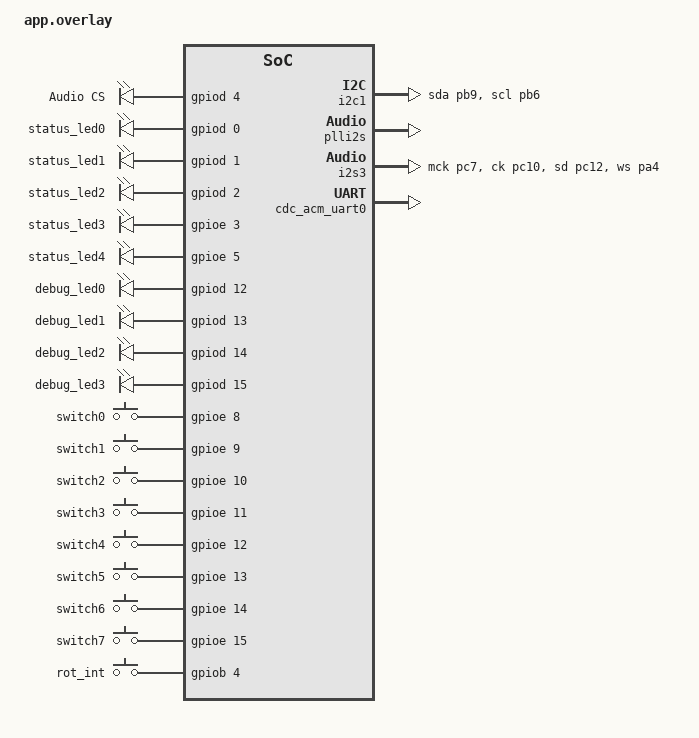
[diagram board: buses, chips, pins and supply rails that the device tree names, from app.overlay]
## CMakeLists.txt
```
cmake_minimum_required(VERSION 3.20.0)

set(BOARD stm32f4_disco)
set(CONF_FILE prj.conf)
find_package(Zephyr)
project(my_zephyr_app)

target_sources(app PRIVATE 
src/audio.cpp
src/leds.cpp
src/usb.c
src/Switch.cpp
src/key.cpp
src/i2c.c
src/peripherals.cpp
src/synth.cpp
src/main.cpp 
)
```

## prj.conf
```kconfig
CONFIG_CONSOLE=y
CONFIG_I2C=y
CONFIG_I2S=y
CONFIG_NEWLIB_LIBC=y
CONFIG_STDOUT_CONSOLE=y
CONFIG_USB_DEVICE_STACK=y
CONFIG_USB_DEVICE_PRODUCT="Zephyr CDC ACM sample"
CONFIG_USB_DEVICE_PID=0x0001
CONFIG_SERIAL=y
CONFIG_UART_INTERRUPT_DRIVEN=y
CONFIG_UART_LINE_CTRL=y
CONFIG_CPP=y
```

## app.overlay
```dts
&i2c1 {
    pinctrl-0 = <&i2c1_sda_pb9 &i2c1_scl_pb6>;
    pinctrl-names = "default";
    status = "okay";
};

/ {
    chip_selects {
        compatible = "gpio-leds";
        audio_cs: cs_0 {
            gpios = <&gpiod 4 GPIO_ACTIVE_HIGH>;
            label = "Audio CS";
        };
    };

    leds {
        compatible = "gpio-leds";
        status_led0: led_0 {
                gpios = <&gpiod 0 GPIO_ACTIVE_HIGH>;
        };
        status_led1: led_1 {
                gpios = <&gpiod 1 GPIO_ACTIVE_HIGH>;
        };
        status_led2: led_2 {
                gpios = <&gpiod 2 GPIO_ACTIVE_HIGH>;
        };
        status_led3: led_3 {
                gpios = <&gpioe 3 GPIO_ACTIVE_HIGH>;
        };
        status_led4: led_4 {
                gpios = <&gpioe 5 GPIO_ACTIVE_HIGH>;
        };
        debug_led0: led_5 {
            gpios = <&gpiod 12 GPIO_ACTIVE_HIGH>;
        };
        debug_led1: led_6 {
            gpios = <&gpiod 13 GPIO_ACTIVE_HIGH>;
        };
        debug_led2: led_7 {
            gpios = <&gpiod 14 GPIO_ACTIVE_HIGH>;
        };
        debug_led3: led_8 {
            gpios = <&gpiod 15 GPIO_ACTIVE_HIGH>;
        };
    };

    buttons {
        compatible = "gpio-keys";
        switch0: button_0 {
            gpios = <&gpioe 8 GPIO_ACTIVE_HIGH>;
        };
        switch1: button_1 {
            gpios = <&gpioe 9 GPIO_ACTIVE_HIGH>;
        };
        switch2: button_2 {
            gpios = <&gpioe 10 GPIO_ACTIVE_HIGH>;
        };
        switch3: button_3 {
            gpios = <&gpioe 11 GPIO_ACTIVE_HIGH>;
        };
        switch4: button_4 {
            gpios = <&gpioe 12 GPIO_ACTIVE_HIGH>;
        };
        switch5: button_5 {
            gpios = <&gpioe 13 GPIO_ACTIVE_HIGH>;
        };
        switch6: button_6 {
            gpios = <&gpioe 14 GPIO_ACTIVE_HIGH>;
        };
        switch7: button_7 {
            gpios = <&gpioe 15 GPIO_ACTIVE_HIGH>;
        };
        rot_int: button_8 {
            gpios = <&gpiob 4 GPIO_ACTIVE_HIGH>;
        };
    };


    aliases {
        cs0 = &audio_cs;
        status-led0 = &status_led0;
        status-led1 = &status_led1;
        status-led2 = &status_led2;
        status-led3 = &status_led3;
        status-led4 = &status_led4;
        debug-led0 = &debug_led0;
        debug-led1 = &debug_led1;
        debug-led2 = &debug_led2;
        debug-led3 = &debug_led3;
        switch0 = &switch0;
        switch1 = &switch1;
        switch2 = &switch2;
        switch3 = &switch3;
        switch4 = &switch4;
        switch5 = &switch5;
        switch6 = &switch6;
        switch7 = &switch7;
        rot-int = &rot_int;
    };
};

&dma1 {
    status = "okay";
};

&plli2s {
    status = "okay";
    mul-n = <338>;
    div-r = <3>;
};

i2s_tx: &i2s3 {
    pinctrl-0 = <&i2s3_mck_pc7 &i2s3_ck_pc10 &i2s3_sd_pc12 &i2s3_ws_pa4>;
    pinctrl-names = "default";
    status = "okay";
	clocks = <&rcc STM32_CLOCK_BUS_APB1 0x00008000>,
             <&rcc STM32_SRC_PLLI2S_R I2S_SEL(0)>;
    mck-enabled;
};

&zephyr_udc0 {
	cdc_acm_uart0 {
		compatible = "zephyr,cdc-acm-uart";
	};
};
```

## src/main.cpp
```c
/*
 * Copyright (c) 2016 Intel Corporation
 *
 * SPDX-License-Identifier: Apache-2.0
 */

#include "Switch.hpp"
#include "audio.h"
#include "key.hpp"
#include "leds.h"
#include "peripherals.h"
#include "synth.hpp"
#include "usb.h"
#include <math.h>
#include <zephyr/kernel.h>
#include <zephyr/logging/log.h>
#include <zephyr/drivers/gpio.h>

#define STACK_SIZE 2048

void task_update_peripherals(void *, void *, void *);

void task_check_keyboard(void *, void *, void *);

void task_write_audio(void *, void *, void *);

void task_make_audio(void *, void *, void *);

void work_update_switch0(void *, void *, void *);
void work_update_switch1(void *p1, void *p2, void *p3);
void work_update_switch2(void *p1, void *p2, void *p3);
void work_update_switch3(void *p1, void *p2, void *p3);

K_THREAD_STACK_DEFINE(stack0,
STACK_SIZE);
K_THREAD_STACK_DEFINE(stack1,
STACK_SIZE);
K_THREAD_STACK_DEFINE(stack2,
STACK_SIZE);
K_THREAD_STACK_DEFINE(stack3,
STACK_SIZE);

K_THREAD_STACK_DEFINE(stack4,
STACK_SIZE);
K_THREAD_STACK_DEFINE(stack5,
STACK_SIZE);
K_THREAD_STACK_DEFINE(stack6,
STACK_SIZE);
K_THREAD_STACK_DEFINE(stack7,
STACK_SIZE);


struct k_thread my_thread_data_0;
struct k_thread my_thread_data_1;
struct k_thread my_thread_data_2;
struct k_thread my_thread_data_3;

struct k_thread sw0_thread_data_0;
struct k_thread sw1_thread_data_1;
struct k_thread sw2_thread_data_2;
struct k_thread sw3_thread_data_3;


static struct gpio_callback sw0_cb;
static struct gpio_callback sw1_cb;
static struct gpio_callback sw2_cb;
static struct gpio_callback sw3_cb;
static struct gpio_callback sw4_cb;
static struct gpio_callback sw5_cb;
static struct gpio_callback sw6_cb;
static struct gpio_callback sw7_cb;
static struct gpio_callback rot_cb;
void switch_pressed(const struct device *dev, struct gpio_callback *cb, uint32_t pins);
void switch0_pressed(const struct device *dev, struct gpio_callback *cb, uint32_t pins);
void switch1_pressed(const struct device *dev, struct gpio_callback *cb, uint32_t pins);
void switch2_pressed(const struct device *dev, struct gpio_callback *cb, uint32_t pins);
void switch3_pressed(const struct device *dev, struct gpio_callback *cb, uint32_t pins);
void attach_interrupt_switch(void);

K_MUTEX_DEFINE(mutex_keys);
K_MUTEX_DEFINE(mutex_peripherals);
K_MUTEX_DEFINE(mutex_mem0);
K_MUTEX_DEFINE(mutex_mem1);
K_SEM_DEFINE(sem_peripherals, 0, 1);

K_SEM_DEFINE(sem_sw0, 0, 1);
K_SEM_DEFINE(sem_sw1, 0, 1);
K_SEM_DEFINE(sem_sw2, 0, 1);
K_SEM_DEFINE(sem_sw3, 0, 1);

K_TIMER_DEFINE(sync_timer_task1, NULL, NULL);
K_TIMER_DEFINE(sync_timer_task2, NULL, NULL);
K_TIMER_DEFINE(sync_timer_task3, NULL, NULL);
K_TIMER_DEFINE(sync_timer_task4, NULL, NULL);

Synthesizer synth;

void check_keyboard() {
    // data race Keys[] in thread task_check_keyboard(main.cpp)
    char character;
    while (usbRead(&character, 1)) {
        auto key = Key::char_to_key(character);
        bool key_pressed = false;
        k_mutex_lock(&mutex_keys, K_FOREVER);
        for (int i = 0; i < MAX_KEYS; i++) {

            if (key == keys[i].key && keys[i].state != IDLE) {
                keys[i].state = PRESSED;
                keys[i].hold_time = sys_timepoint_calc(K_MSEC(500));
                keys[i].release_time = sys_timepoint_calc(K_MSEC(500));
                key_pressed = true;
            }
        }
        // The second loop is necessary to avoid selecting an IDLE key when a
        // PRESSED or RELEASED key is located further away on the array
        if (!key_pressed) {
            for (int i = 0; i < MAX_KEYS; i++) {

                if (keys[i].state == IDLE) {
                    keys[i].key = key;
                    keys[i].state = PRESSED;
                    keys[i].hold_time = sys_timepoint_calc(K_MSEC(500));
                    keys[i].release_time = sys_timepoint_calc(K_MSEC(500));
                    keys[i].phase1 = 0;
                    keys[i].phase2 = 0;
                    break;
                }
            }
        }
        k_mutex_unlock(&mutex_keys);
    }
}

int main(void) {
    initUsb();
    waitForUsb();

    printuln("== Initializing... ==");

    init_leds();
    initAudio();
    init_peripherals();

    synth.initialize();

    void *mem_block = allocBlock();

    //attach_interrupt_switch();

    printuln("== Finished initialization ==");

    k_tid_t my_tid_0 = k_thread_create(&my_thread_data_0, stack0,
                                       K_THREAD_STACK_SIZEOF(stack0),
                                       task_update_peripherals,
                                       NULL, NULL, NULL,
                                       -1, 0, K_NO_WAIT);
    k_tid_t my_tid_1 = k_thread_create(&my_thread_data_1, stack1,
                                       K_THREAD_STACK_SIZEOF(stack1),
                                       task_check_keyboard,
                                       NULL, NULL, NULL,
                                       2, 0, K_NO_WAIT);
    k_tid_t my_tid_2 = k_thread_create(&my_thread_data_2, stack2,
                                       K_THREAD_STACK_SIZEOF(stack2),
                                       task_make_audio,
                                       NULL, NULL, mem_block,
                                       3, 0, K_NO_WAIT);
    k_tid_t my_tid_3 = k_thread_create(&my_thread_data_3, stack3,
                                       K_THREAD_STACK_SIZEOF(stack3),
                                       task_write_audio,
                                       NULL, NULL, mem_block,
                                       4, 0, K_NO_WAIT);

    k_tid_t work_tid_0 = k_thread_create(&sw0_thread_data_0, stack4,
                                       K_THREAD_STACK_SIZEOF(stack4),
                                         work_update_switch0,
                                       NULL, NULL, NULL,
                                       -1, 0, K_NO_WAIT);
    k_tid_t work_tid_1 = k_thread_create(&sw1_thread_data_1, stack5,
                                       K_THREAD_STACK_SIZEOF(stack5),
                                         work_update_switch1,
                                       NULL, NULL, NULL,
                                       -1, 0, K_NO_WAIT);
    k_tid_t work_tid_2 = k_thread_create(&sw2_thread_data_2, stack6,
                                       K_THREAD_STACK_SIZEOF(stack6),
                                         work_update_switch2,
                                       NULL, NULL, NULL,
                                       -1, 0, K_NO_WAIT);
    k_tid_t work_tid_3 = k_thread_create(&sw3_thread_data_3, stack7,
                                       K_THREAD_STACK_SIZEOF(stack7),
                                         work_update_switch3,
                                       NULL, NULL, NULL,
                                       -1, 0, K_NO_WAIT);
    attach_interrupt_switch();
    k_thread_suspend(k_current_get());
    return 0;
}

void task_update_peripherals(void *p1, void *p2, void *p3) {
    //k_timer_start(&sync_timer_task1, K_MSEC(8), K_MSEC(8));
    while (1) {
        // Check the peripherals input
        if (k_sem_take(&sem_peripherals, K_FOREVER) == 0) {
            set_led(&debug_led0);
            //software debouncing
            k_usleep(200);
            k_mutex_lock(&mutex_peripherals, K_FOREVER);
            peripherals_update();
            k_mutex_unlock(&mutex_peripherals);
            reset_led(&debug_led0);
        }


        //k_timer_status_sync(&sync_timer_task1);
    }
}

void task_check_keyboard(void *p1, void *p2, void *p3) {
    k_timer_start(&sync_timer_task2, K_MSEC(80), K_MSEC(80));
    while (1) {
        // Get user input from the keyboard
        set_led(&debug_led1);

        check_keyboard();

        reset_led(&debug_led1);

        k_timer_status_sync(&sync_timer_task2);
    }
}

atomic_t write_mem0 = ATOMIC_INIT(1);
void task_make_audio(void *p1, void *p2, void *mem_block) {
    k_timer_start(&sync_timer_task3, K_MSEC(BLOCK_GEN_PERIOD_MS), K_MSEC(BLOCK_GEN_PERIOD_MS));
    //bool is_mem0 = true;
    bool is_first = true;
    while (1) {
        // Make synth sound
        set_led(&debug_led2);
        if (atomic_get(&write_mem0) == 1) {
            if(is_first){
                is_first = false;
            }
            else{
                k_mutex_unlock(&mutex_mem1);
            }
            k_mutex_lock(&mutex_mem0, K_FOREVER);
            synth.makesynth((uint8_t *) mem_block);
            atomic_set(&write_mem0, 0);
        } else {
            k_mutex_unlock(&mutex_mem0);
            k_mutex_lock(&mutex_mem1, K_FOREVER);
            synth.makesynth(((uint8_t *) mem_block) + int (BLOCK_SIZE));
            atomic_set(&write_mem0, 1);
        }
        reset_led(&debug_led2);
        k_timer_status_sync(&sync_timer_task3);
    }
}

void task_write_audio(void *p1, void *p2, void *mem_block) {
    k_timer_start(&sync_timer_task4, K_MSEC(BLOCK_GEN_PERIOD_MS), K_MSEC(BLOCK_GEN_PERIOD_MS));
    while (1) {
        set_led(&debug_led3);
        if(atomic_get(&write_mem0) == 0){
            k_mutex_lock(&mutex_mem0, K_FOREVER);
            writeBlock(mem_block);
            k_mutex_unlock(&mutex_mem0);
        } else {
            k_mutex_lock(&mutex_mem1, K_FOREVER);
            writeBlock(((uint8_t *) mem_block) + int(BLOCK_SIZE));
            k_mutex_unlock(&mutex_mem1);
        }
        reset_led(&debug_led3);
        k_timer_status_sync(&sync_timer_task4);
    }
}
void attach_interrupt_switch(void) {
    int ret0 = gpio_pin_interrupt_configure_dt(&sw_osc_dn, GPIO_INT_EDGE_BOTH);
    int ret1 = gpio_pin_interrupt_configure_dt(&sw_osc_up, GPIO_INT_EDGE_BOTH);
    int ret2 = gpio_pin_interrupt_configure_dt(&sw1_dn, GPIO_INT_EDGE_BOTH);
    int ret3 = gpio_pin_interrupt_configure_dt(&sw1_up, GPIO_INT_EDGE_BOTH);
    int ret4 = gpio_pin_interrupt_configure_dt(&sw2_dn, GPIO_INT_EDGE_BOTH);
    int ret5 = gpio_pin_interrupt_configure_dt(&sw2_up, GPIO_INT_EDGE_BOTH);
    int ret6 = gpio_pin_interrupt_configure_dt(&sw3_dn, GPIO_INT_EDGE_BOTH);
    int ret7 = gpio_pin_interrupt_configure_dt(&sw3_up, GPIO_INT_EDGE_BOTH);
    int ret8 = gpio_pin_interrupt_configure_dt(&rot_int, GPIO_INT_EDGE_FALLING);

    if (ret0 != 0 || ret1 != 0 || ret2 != 0 || ret3 != 0 || ret4 != 0 || ret5 != 0 || ret6 != 0 || ret7 != 0 || ret8 != 0) {
        printuln("failed to configure interrupt on switches.\n");
        return;
    }

    // initialize callback structure for button interrupt
    gpio_init_callback(&sw0_cb, switch0_pressed, BIT(sw_osc_dn.pin));
    gpio_init_callback(&sw1_cb, switch0_pressed, BIT(sw_osc_up.pin));
    gpio_init_callback(&sw2_cb, switch1_pressed, BIT(sw1_up.pin));
    gpio_init_callback(&sw3_cb, switch2_pressed, BIT(sw2_up.pin));
    gpio_init_callback(&sw4_cb, switch3_pressed, BIT(sw3_up.pin));
    gpio_init_callback(&sw5_cb, switch1_pressed, BIT(sw1_dn.pin));
    gpio_init_callback(&sw6_cb, switch2_pressed, BIT(sw2_dn.pin));
    gpio_init_callback(&sw7_cb, switch3_pressed, BIT(sw3_dn.pin));
    gpio_init_callback(&rot_cb, switch_pressed, BIT(rot_int.pin));

    // attach callback function to button interrupt
    gpio_add_callback(sw_osc_dn.port, &sw0_cb);
    gpio_add_callback(sw_osc_up.port, &sw1_cb);
    gpio_add_callback(sw1_up.port, &sw2_cb);
    gpio_add_callback(sw2_up.port, &sw3_cb);
    gpio_add_callback(sw3_up.port, &sw4_cb);
    gpio_add_callback(sw1_dn.port, &sw5_cb);
    gpio_add_callback(sw2_dn.port, &sw6_cb);
    gpio_add_callback(sw3_dn.port, &sw7_cb);
    gpio_add_callback(rot_int.port, &rot_cb);
}

void work_update_switch0(void *p1, void *p2, void *p3) {
    while (1) {
        if (k_sem_take(&sem_sw0, K_FOREVER) == 0) {
            set_led(&debug_led0);
            //software debouncing
            //k_usleep(200);
            k_mutex_lock(&mutex_peripherals, K_FOREVER);
            switches[0].update();
            k_mutex_unlock(&mutex_peripherals);
            reset_led(&debug_led0);
        }
    }
}

void work_update_switch1(void *p1, void *p2, void *p3) {
    while (1) {
        if (k_sem_take(&sem_sw1, K_FOREVER) == 0) {
            set_led(&debug_led0);
            //software debouncing
            //k_usleep(200);
            k_mutex_lock(&mutex_peripherals, K_FOREVER);
            switches[1].update();
            k_mutex_unlock(&mutex_peripherals);
            reset_led(&debug_led0);
        }
    }
}

void work_update_switch2(void *p1, void *p2, void *p3) {
    while (1) {
        if (k_sem_take(&sem_sw2, K_FOREVER) == 0) {
            set_led(&debug_led0);
            //software debouncing
            //k_usleep(200);
            k_mutex_lock(&mutex_peripherals, K_FOREVER);
            switches[2].update();
            k_mutex_unlock(&mutex_peripherals);
            reset_led(&debug_led0);
        }
    }
}

void work_update_switch3(void *p1, void *p2, void *p3) {
    while (1) {
        if (k_sem_take(&sem_sw3, K_FOREVER) == 0) {
            set_led(&debug_led0);
            //software debouncing
            //k_usleep(200);
            k_mutex_lock(&mutex_peripherals, K_FOREVER);
            switches[3].update();
            k_mutex_unlock(&mutex_peripherals);
            reset_led(&debug_led0);
        }
    }
}
void switch_pressed(const struct device *dev, struct gpio_callback *cb, uint32_t pins)
{
    k_sem_give(&sem_peripherals);
    return;
}
void switch0_pressed(const struct device *dev, struct gpio_callback *cb, uint32_t pins)
{
    k_sem_give(&sem_sw0);
    return;
}
void switch1_pressed(const struct device *dev, struct gpio_callback *cb, uint32_t pins)
{
    k_sem_give(&sem_sw1);
    return;
}
void switch2_pressed(const struct device *dev, struct gpio_callback *cb, uint32_t pins)
{
    k_sem_give(&sem_sw2);
    return;
}
void switch3_pressed(const struct device *dev, struct gpio_callback *cb, uint32_t pins)
{
    k_sem_give(&sem_sw3);
    return;
}
```

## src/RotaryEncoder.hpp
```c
#ifndef __ROTARY_ENCODER_H__
#define __ROTARY_ENCODER_H__

#include "usb.h"
#include <errno.h>

class RotaryEncoder {
public:
  // Encoder's callback type definition, called when the encoder changes its state
  typedef void (*re_callback)(RotaryEncoder &encoder);

  /// @brief Encoder's constructor
  /// @param id encoder's ID, from 0 to N_ENCODERS
  /// @param pin_0 initialization value of pin 0
  /// @param pin_1 initialization value of pin 0
  /// @param absolute_value absolute initialization value
  /// @param callback the callback that is called when the encoder changes its state. Default: no callback
  RotaryEncoder(uint8_t id, unsigned int pin_0, unsigned int pin_1,
                int absolute_value = 0, re_callback callback = nullptr)
      : _id{id}, _pin_0{pin_0}, _pin_1{pin_1}, _absolute_value{absolute_value},
        _callback{callback} {}
  
  /// @brief Default encoder's constructor
  RotaryEncoder()
      : _id{0}, _pin_0{0}, _pin_1{0}, _absolute_value{0}, _callback{nullptr} {}

  /// @brief Encoder initialization function
  /// Call this function during initialization before calling the rest of the fuctions if you have used the default constuctor
  /// @param id encoder's ID, from 0 to N_ENCODERS
  /// @param pin_0 initialization value of pin 0
  /// @param pin_1 initialization value of pin 1
  /// @param absolute_value absolute initialization value
  /// @param callback the callback that is called when the encoder changes its state. Default: no callback
  void initialize(uint8_t id, unsigned int pin_0, unsigned int pin_1,
                  re_callback callback = nullptr) {
    _id = id;
    _pin_0 = pin_0;
    _pin_1 = pin_1;
    _callback = callback;
  }

  /// @brief Reset to 0 the encoder's absolute value
  void reset() { _absolute_value = 0; }

  /// @brief Get the encoder's absolute value
  /// @return the encoder's absolute value
  int get_state() { return _absolute_value; }

  /// @brief Get the encoder's absolute value
  /// @param state he encoder's new absolute value
  void set_state(int state) { _absolute_value = state; }

  /// @brief Clamp and set the new absolute value
  /// @param state the new absolute value
  /// @param min minimum clamping value
  /// @param max maximum clamping value
  void set_state_clamped(int state, int min, int max) {
    int tmp = state;

    if (tmp > max) {
      tmp = max;
    } else if (tmp < min) {
      tmp = min;
    }

    _absolute_value = tmp;
  }

  /// @brief Get the encoder's pin 0 value
  /// @return the encoder's pin 0 value
  unsigned int get_pin0() { return _pin_0; }

  /// @brief Get the encoder's pin 1 value
  /// @return the encoder's pin 1 value
  unsigned int get_pin1() { return _pin_1; }

  /// @brief Set the encoder's callback
  /// @param callback the encoder's callback
  void set_callback(re_callback callback) { _callback = callback; }

  /// @brief Set a new value for pin 0
  /// @param pin_0 
  /// @return 0 on success, -ERRNO otherwise
  int update_pin_0(int pin_0) { return update(pin_0, _pin_1); }

  /// @brief Set a new value for pin 1
  /// @param pin_1 
  /// @return 0 on success, -ERRNO otherwise
  int update_pin_1(int pin_1) { return update(_pin_0, pin_1); }

  /// @brief Update the encoder's state
  /// @param pin_0 
  /// @param pin_1 
  /// @return 0 on success, -ERRNO otherwise
  int update(unsigned int pin_0, unsigned int pin_1) {
    // Check for invalid state
    if (((pin_0 != _pin_0) && (pin_1 != _pin_1)) || pin_0 > 1 || pin_1 > 1) {
      return -EINVAL;
    } else if ((pin_0 == _pin_0) && (pin_1 == _pin_1)) {
      return 0;
    }

    int past_value = _pin_0 + _pin_1 * 2;
    int new_value = pin_0 + pin_1 * 2;
    _pin_0 = pin_0;
    _pin_1 = pin_1;

    // Update the state machine
    switch (past_value) {
    case 0:
      if (new_value == 1)
        _absolute_value++;
      else if (new_value == 2)
        _absolute_value--;
      break;
    case 1:
      if (new_value == 3)
        _absolute_value++;
      else if (new_value == 0)
        _absolute_value--;
      break;
    case 2:
      if (new_value == 0)
        _absolute_value++;
      else if (new_value == 3)
        _absolute_value--;
      break;
    case 3:
      if (new_value == 2)
        _absolute_value++;
      else if (new_value == 1)
        _absolute_value--;
      break;
    default:
      break;
    }

    if (_callback != nullptr)
      _callback(*this);

    return 0;
  }

public:
  uint8_t _id;
  unsigned int _pin_0;
  unsigned int _pin_1;
  int _absolute_value;
  re_callback _callback;
};

#endif // __ROTARY_ENCODER_H__
```

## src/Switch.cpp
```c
#include "Switch.hpp"
#include "usb.h"

#include <zephyr/drivers/gpio.h>
#include <zephyr/kernel.h>

bool get_button(const struct gpio_dt_spec *button) {
    return gpio_pin_get_dt(button);
}

int ThreePosSwitch::initialize(const struct gpio_dt_spec *up,
                               const struct gpio_dt_spec *down,
                               sw3_callback callback) {
    _callback = callback;
    _up = up;
    _down = down;

    // Configure the first GPIO
    if (!gpio_is_ready_dt(_up)) {
        printuln("GPIO up was not ready.");
        return -1;
    }
    gpio_pin_configure_dt(_up, GPIO_INPUT | GPIO_PULL_UP);

    // Configure the second GPIO
    if (!gpio_is_ready_dt(_down)) {
        printuln("GPIO down was not ready.");
        return -1;
    }
    gpio_pin_configure_dt(_down, GPIO_INPUT | GPIO_PULL_UP);

    update();
    return 0;
}

void ThreePosSwitch::update() {
    // Get the new state
    bool temp_up = gpio_pin_get_dt(_up);
    bool temp_dn = gpio_pin_get_dt(_down);
    int num_check = 0;
    // software debouncing
    while(num_check <= 9){
        if(temp_up == gpio_pin_get_dt(_up) && temp_dn == gpio_pin_get_dt(_down)){
            num_check = num_check + 1;
            k_usleep(20);
        } else {
            temp_up = gpio_pin_get_dt(_up);
            temp_dn = gpio_pin_get_dt(_down);
            num_check = 0;
        }
    }
    bool up = temp_up;
    bool dn = temp_dn;

    if (up == dn) {
        _current_state = Neutral;
    } else if (up) {
        _current_state = Up;
    } else {
        _current_state = Down;
    }

    // If the state is different, call the callback
    if (_current_state != _previous && _callback != nullptr) {
        _callback(*this);
    }

    // Update the invariant
    _previous = _current_state;
}
```

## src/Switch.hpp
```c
#ifndef __BUTTONS_H__
#define __BUTTONS_H__

enum ThreeWaySwitchState { Down = -1, Neutral = 0, Up = 1 };

class ThreePosSwitch {
public:
  // Switch's callback type definition, called when the switch changes its state
  typedef void (*sw3_callback)(ThreePosSwitch &sw);

  /// @brief Default constructor
  ThreePosSwitch()
      : _current_state{Neutral}, _previous{Neutral}, _callback{nullptr},
        _up{nullptr}, _down{nullptr} {}
  
  /// @brief Switch's initialization function
  /// Call this function during initialization before calling the rest of the fuctions
  /// @param up up pin hardware handler
  /// @param down down pin hardware handler
  /// @param callback the callback that is called when the switch changes its state. Default: no callback
  /// @return 0 on success, -ERRNO otherwise
  int initialize(const struct gpio_dt_spec *up, const struct gpio_dt_spec *down,
                 sw3_callback callback = nullptr);
  
  /// @brief Switch update function.
  void update();

  ThreeWaySwitchState _current_state;
  ThreeWaySwitchState _previous;
  sw3_callback _callback;
  const struct gpio_dt_spec *_up;
  const struct gpio_dt_spec *_down;
};

#endif // __BUTTONS_H__
```

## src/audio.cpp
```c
#include "audio.h"
#include "usb.h"
#include <errno.h>
#include <stdint.h>
#include <zephyr/drivers/gpio.h>
#include <zephyr/drivers/i2c.h>
#include <zephyr/drivers/i2s.h>
#include <zephyr/kernel.h>
#include <zephyr/logging/log.h>

#define I2S_TX_NODE DT_NODELABEL(i2s_tx)
K_MEM_SLAB_DEFINE_STATIC(mem_slab, BLOCK_SIZE * 2, BLOCK_COUNT, 4);

/* 1000 msec = 1 sec */
#define SLEEP_TIME_MS 1000

/* The devicetree node identifier for the "led0" alias. */
#define LED0_NODE DT_ALIAS(led0)
#define AUDIO_CS DT_ALIAS(cs0)

static const struct gpio_dt_spec cs = GPIO_DT_SPEC_GET(AUDIO_CS, gpios);
const struct device *const i2s_dev_tx = DEVICE_DT_GET(I2S_TX_NODE);

static int read(uint8_t devaddr, uint8_t regaddr, uint8_t *regval) {
    int ret;

    const struct device *dev = DEVICE_DT_GET(DT_NODELABEL(i2c1));

    if (!device_is_ready(dev)) {
        printuln("Device not ready");
        return -ENODEV;
    }

    ret = i2c_write_read(dev, devaddr, &regaddr, 1, regval, 1);
    if (ret) {
        printuln("Call `i2c_write_read` failed: %d", ret);
        return ret;
    }

    return 0;
}

static int write(uint8_t devaddr, uint8_t regaddr, uint8_t regval) {
    int ret;

    const struct device *dev = DEVICE_DT_GET(DT_NODELABEL(i2c1));

    if (!device_is_ready(dev)) {
        printuln("Device not ready");
        return -ENODEV;
    }

    uint8_t buf[2] = {regaddr, regval};

    ret = i2c_write(dev, buf, 2, devaddr);
    if (ret) {
        printuln("Call `i2c_write` failed: %d", ret);
        return ret;
    }

    return 0;
}

void *allocBlock() {
    void *mem_block;
    int ret = k_mem_slab_alloc(&mem_slab, &mem_block, K_NO_WAIT);
    if (ret < 0) {
        printuln("Failed to allocate TX block: %d\n", ret);
        return nullptr;
    }

    // We'll eventually want to handle this return value
    ret = i2s_trigger(i2s_dev_tx, I2S_DIR_TX, I2S_TRIGGER_START);

    return mem_block;
}

int initAudio() {
    int ret;

    // Initialize CS gpio pin
    if (!gpio_is_ready_dt(&cs)) {
        printuln("CS gpio pin was not ready.");
        return ret;
    }
    ret = gpio_pin_configure_dt(&cs, GPIO_OUTPUT_ACTIVE);
    if (ret < 0) {
        printuln("Failed to configure CS gpio pin.");
        return ret;
    }
    ret = gpio_pin_set_dt(&cs, 1);
    if (ret < 0) {
        printuln("Failed to set CS gpio pin to 1.");
        return ret;
    }

    ret = 0;
    ret |= write(0x4A, 0x02, 0x01); // power save registers -> all on
    ret |= write(0x4A, 0x00, 0x99);
    ret |= write(0x4A, 0x47, 0x80);     // inits
    ret |= write(0x4A, 0x0d, 0x03);     // playback ctrl
    ret |= write(0x4A, 0x32, (1 << 7)); // vol
    ret |= write(0x4A, 0x32, (0 << 7)); // vol
    ret |= write(0x4A, 0x00, 0x00);     // inits
    ret |= write(0x4A, 0x04, 0xaf);     // power ctrl
    ret |= write(0x4A, 0x0d, 0x70);
    ret |=
            write(0x4A, 0x05,
                  0x81); // clocking: auto speed is determined by the MCLK/LRCK ratio.
    ret |= write(0x4A, 0x06, 0x07); // DAC interface format, I²S 16 bit
    ret |= write(0x4A, 0x0a, 0x00);
    ret |= write(0x4A, 0x27, 0x00);
    ret |= write(0x4A, 0x80, 0x0a); // both channels on
    ret |= write(0x4A, 0x1f, 0x0f);
    ret |= write(0x4A, 0x22, 4 - 80);
    ret |= write(0x4A, 0x23, 4 - 80); // limit headphone volume
    ret |= write(0x4A, 0x02, 0x9e);
    if (ret < 0) {
        printuln("Failed to write config over i2c.");
        return ret;
    }

    ret = setVolume(80);
    if (ret < 0) {
        printuln("Failed to set initial volume");
    }

    struct i2s_config config;

    if (!device_is_ready(i2s_dev_tx)) {
        printuln("%s is not ready\n", i2s_dev_tx->name);
        return -1;
    }

    config.word_size = SAMPLE_BIT_WIDTH;
    config.channels = NUMBER_OF_CHANNELS;
    config.format = I2S_FMT_DATA_FORMAT_I2S;
    config.options = I2S_OPT_BIT_CLK_MASTER | I2S_OPT_FRAME_CLK_MASTER;
    config.frame_clk_freq = SAMPLE_FREQUENCY;
    config.mem_slab = &mem_slab;
    config.block_size = BLOCK_SIZE;
    config.timeout = TIMEOUT;

    ret = i2s_configure(i2s_dev_tx, I2S_DIR_TX, &config);
    if (ret < 0) {
        printuln("Failed to configure TX stream: %d\n", ret);
        return -1;
    }

    printuln("Audio driver initialization finished!");
    return 0;
}

int setVolume(uint8_t volumeValue) {
    int8_t vol;
    if (volumeValue > 100)
        volumeValue = 100;
    // strange mapping, see datasheet
    // vol=25; // -102 dB
    // vol=24  // +12dB

    vol = -90 + (float) 80 * volumeValue / 100;

    int ret = 0;
    ret |= write(0x4A, 0x20, vol);
    ret |= write(0x4A, 0x21, vol);
    if (ret < 0) {
        printuln("Failed to set volume.");
        return -1;
    }
    return 0;
}

int writeBlock(void *mem_block) {
    int ret;

    // We'll eventually want to check this return value
    !i2s_trigger(i2s_dev_tx, I2S_DIR_TX, I2S_TRIGGER_START);

    // maybe data race ?
    ret = i2s_write(i2s_dev_tx, mem_block, BLOCK_SIZE);
    if (ret < 0) {
        printuln("Failed to write block 0: %d", ret);
        if (ret == -5) {
            i2s_trigger(i2s_dev_tx, I2S_DIR_TX, I2S_TRIGGER_PREPARE);
            writeBlock(mem_block);
        }
        return 0;
    }
    return 0;
}
```

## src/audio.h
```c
#ifndef AUDIO_H
#define AUDIO_H

#include <stdint.h>

/**
 * I2S driver configuration constants
*/
#define SAMPLE_FREQUENCY 44100
#define SAMPLE_BIT_WIDTH 16
#define BYTES_PER_SAMPLE sizeof(int16_t)
#define NUMBER_OF_CHANNELS 1
#define TIMEOUT 1000

/**
 * Constants for configuring memory slab used as buffer for I2S driver
*/
// Want to generate a block of audio samples every 50 ms = 0.05 s
#define BLOCK_GEN_PERIOD_S (0.08)
#define BLOCK_GEN_PERIOD_MS (BLOCK_GEN_PERIOD_S * 1000)

// How many samples we can produce within the block generation period given
// the sampling frequency
#define SAMPLES_PER_BLOCK (SAMPLE_FREQUENCY * BLOCK_GEN_PERIOD_S * NUMBER_OF_CHANNELS)

// how large the audio block can be to fill it within the block generation period
#define BLOCK_SIZE (BYTES_PER_SAMPLE * SAMPLES_PER_BLOCK) 

// the number of audio blocks to use
#define BLOCK_COUNT (1)



/// @brief Audio initialization function
/// Call this function before you call any other function from this library
/// @return 0 on success, -ERRNO otherwise
int initAudio();

/// @brief Set the output volume/amplitude of the audio amplifier
/// @param volumeValue volume value, from 0 to 255
/// @return 0 on success, -ERRNO otherwise
int setVolume(uint8_t volumeValue);

/// @brief Initialize the audio buffers
void *allocBlock();

/// @brief Write one of the buffers to the audio amplifier
/// Note: this is accomplished asynchronously through a DMA request
/// @param mem_block the audio buffer
/// @return 0 on success, -ERRNO otherwise
int writeBlock(void *mem_block);

#endif
```

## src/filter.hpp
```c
#include <stdint.h>
#include <math.h>

#define PI (3.14159265358979323846)

// Filter discrete cut-off frequencies, 96-entry LUT
const float CUTOFF_FREQUENCIES_96[] = {
    0., 20.000,   20.993,   22.036,   23.131,   24.280,   25.485,   26.751,
    28.080,   29.475,   30.939,   32.476,   34.089,   35.782,   37.559,
    39.425,   41.383,   43.438,   45.596,   47.861,   50.238,   52.733,
    55.352,   58.102,   60.987,   64.017,   67.196,   70.534,   74.037,
    77.715,   81.575,   85.627,   89.880,   94.344,   99.030,   103.949,
    109.112,  114.531,  120.220,  126.191,  132.459,  139.039,  145.945,
    153.194,  160.803,  168.790,  177.173,  185.973,  195.211,  204.907,
    215.084,  225.768,  236.981,  248.752,  261.108,  274.077,  287.690,
    301.979,  316.979,  332.723,  349.249,  366.596,  384.805,  403.918,
    423.980,  445.039,  467.144,  490.347,  514.703,  540.268,  567.103,
    595.270,  624.837,  655.873,  688.450,  722.645,  758.538,  796.214,
    835.762,  877.274,  920.848,  966.586,  1014.596, 1064.991, 1117.888,
    1173.413, 1231.696, 1292.874, 1357.091, 1424.497, 1495.251, 1569.520,
    1647.477, 1729.307, 1815.201, 1905.361, 2000.000,
};


// Filter discrete cut-off frequencies, 48-entry LUT
// const float CUTOFF_FREQUENCIES_48[] = {
//   20.000, 22.059, 24.330, 26.834,
//   29.597, 32.643, 36.004, 39.710,
//   43.798, 48.307, 53.280, 58.765,
//   64.814, 71.486, 78.845, 86.962,
//   95.914, 105.787, 116.678, 128.689,
//   141.936, 156.548, 172.663, 190.438,
//   210.042, 231.665, 255.513, 281.816,
//   310.827, 342.825, 378.117, 417.041,
//   459.973, 507.324, 559.549, 617.151,
//   680.683, 750.755, 828.040, 913.281,
//   1007.297, 1110.992, 1225.361, 1351.504,
//   1490.632, 1644.083, 1813.330, 2000.000,
// };

// Implements second-order Butterworth low-pass filter
class Filter {
public:
    float _cutoff_freq; // cutoff frequency of the LPF in Hz
    int _cutoff_enc; // cutoff frequency encoder state
    float _resonance_freq; // TODO: implement
    int _resonance_enc;

private:
    // Frequency at which the LPF is sampled
    float sampling_freq;
    
    // Windows for the previous inputs and outputs
    float prev_sample[2] = {0, 0}; // x(n-1), x(n-2)
    float prev_output[2] = {0, 0}; // y(n-1), y(n-2)

    // Coefficients for the 2nd order Butterworth
    float a[3] = {0., 0., 0.}; // input sample coefficients
    float b[2] = {0., 0.}; // previous output sample coefficients

    /// @brief Update the filter coefficients from the encoder values
    /// Internal function called by the encoder's callback
    void update_coefficients() {
        // float K1 = sqrtf(2) * _cutoff_freq;
        // float K2 = powf(_cutoff_freq, 2);

        // a[0] = K2 / (1.0 + K1 + K2);
        // a[1] = 2 * a[0];
        // a[2] = a[0];

        // float K3 = a[1] / K2;

        // b[0] = -a[1] + K3;
        // b[1] = 1 - a[1] - K3;


        // float norm_freq = _cutoff_freq / sampling_freq;

        float ita = 1.0 / tanf(PI * _cutoff_freq);
        float q = sqrtf(2);

        a[0] = 1.0 / (1.0 + (q*ita) + (ita*ita));
        a[1] = 2 * a[0];
        a[2] = a[0];

        b[0] = 2.0 * ((ita * ita) - 1.0) * a[0];
        b[1] = -(1.0 - (q * ita) + (ita * ita)) * a[0];
    }

public:
    /// @brief Sound filter constructor
    /// @param sampling_freq TODO
    /// @param cutoff_freq TODO
    Filter(float sampling_freq, float cutoff_freq) {
        this->sampling_freq = sampling_freq;
        this->_cutoff_enc = 0;
        this->_resonance_enc = 0;
        set_cutoff_freq(cutoff_freq);
    }

    // Applies the filter and updates the sampling window
    float filter(float curr_sample) {
        float y = a[0] * curr_sample + a[1] * prev_sample[0] + a[2] * prev_sample[1] +
                    b[0] * prev_output[0] + b[1] * prev_output[1];
        
        // update sample window
        prev_sample[1] = prev_sample[0]; prev_sample[0] = curr_sample;
        prev_output[1] = prev_output[0]; prev_output[0] = y;

        return y;
    }

    /// @brief Sets the filter's cut-off frequency
    /// @param cutoff the filter's cut-off frequency
    void set_cutoff_freq(float cutoff) {
        // convert from Hz to rad/sec
        // float corrected_cutoff = (1 / (2*sampling_freq)) - cutoff;

        // Normalize the cutoff frequency to the sampling frequency
        _cutoff_freq =  cutoff / sampling_freq;
        update_coefficients();
    }

    /// @brief Sets the filter's resonance frequency
    /// @param cutoff the filter's resonance frequency
    void set_resonance_freq(float res) {
        _resonance_freq = res;
    }
};
```

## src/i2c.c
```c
#include <stdint.h>
#include <zephyr/drivers/i2c.h>

int read(uint8_t devaddr, uint8_t regaddr, uint8_t *regval) {
    int ret;

    const struct device *dev = DEVICE_DT_GET(DT_NODELABEL(i2c1));

    if (!device_is_ready(dev)) {
        printk("Device not ready");
        return -ENODEV;
    }

    ret = i2c_write_read(dev, devaddr, &regaddr, 1, regval, 1);
    if (ret) {
        printk("Call `i2c_write_read` failed: %d", ret);
        return ret;
    }

    return 0;
}

static int write(uint8_t devaddr, uint8_t regaddr, uint8_t regval) {
    int ret;

    const struct device *dev = DEVICE_DT_GET(DT_NODELABEL(i2c1));

    if (!device_is_ready(dev)) {
        printk("Device not ready");
        return -ENODEV;
    }

    uint8_t buf[2] = {regaddr, regval};

    ret = i2c_write(dev, buf, 2, devaddr);
    if (ret) {
        printk("Call `i2c_write` failed: %d", ret);
        return ret;
    }

    return 0;
}
```

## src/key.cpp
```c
#include "key.hpp"

Key keys[MAX_KEYS];

/*
 *  s d   g h j
 * z x c v b n m ,
 * | | | | | | | |
 * C D E F G A B C
 */
key_t Key::char_to_key(char c) {
    switch (c) {
        case ';':
            return E4;
        case 'p':
            return Dh4;
        case 'l':
            return D4;
        case 'o':
            return Ch4;
        case 'k':
            return C4;
        case 'j':
            return B4;
        case 'u':
            return Bb4;
        case 'h':
            return A4;
        case 'y':
            return Ab3;
        case 'g':
            return G3;
        case 't':
            return Fh3;
        case 'f':
            return F3;
        case 'd':
            return E3;
        case 'e':
            return Dh3;
        case 's':
            return D3;
        case 'w':
            return Ch3;
        case 'a':
            return C3;
        default:
            return A3;
    }
}

float Key::get_freq() {
    switch (key) {
        case A3:
            return 200.0;
        case Bb3:
            return 233.08;
        case B3:
            return 246.94;
        case C3:
            return 261.626;
        case Ch3:
            return 277.183;
        case D3:
            return 293.665;
        case Dh3:
            return 311.127;
        case E3:
            return 329.628;
        case F3:
            return 349.228;
        case Fh3:
            return 369.994;
        case G3:
            return 391.995;
        case Ab3:
            return 415.305;
        case A4:
            return 440.000;
        case Bb4:
            return 466.164;
        case B4:
            return 493.883;
        case C4:
            return 523.251;
        default:
            return 0.;
    }
}
```

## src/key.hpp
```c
#ifndef __KEY_H_H_
#define __KEY_H_H_

#include <stdint.h>
#include <zephyr/kernel.h>

typedef enum {
  A3,
  Bb3,
  B3,
  C3,
  Ch3,
  D3,
  Dh3,
  E3,
  F3,
  Fh3,
  G3,
  Ab3,
  A4,
  Bb4,
  B4,
  C4,
  Ch4,
  D4,
  Dh4,
  E4,
} key_t;

/// @brief The state of a key
typedef enum { IDLE, PRESSED, RELEASED } key_state_t;

/// @brief Maximum number of keys. Space allocated at compile time.
const uint8_t MAX_KEYS = 4;

class Key {
public:
  /// @brief Key constructor
  Key()
      : state{IDLE}, key{A3}, hold_time{sys_timepoint_calc(K_FOREVER)},
        release_time{sys_timepoint_calc(K_FOREVER)}, elapsed_hold{0.0},
        elapsed_release{0.0}, phase1{0}, phase2{0} {}

  /// @brief Generate key_t struct from keyboard input
  /// @param c the keyboard input
  /// @return keyboard key
  static key_t char_to_key(char c);

  /// @brief Get the frequency of this specific key
  /// @return this key's frequency
  float get_freq();

  key_state_t state;
  key_t key;
  uint16_t phase1;
  uint16_t phase2;
  k_timepoint_t hold_time;
  k_timepoint_t release_time;
  float elapsed_hold;
  float elapsed_release;
};

// data race keys[] declared
extern Key keys[MAX_KEYS];

#endif // __KEY_H__
```

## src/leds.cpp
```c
#include <zephyr/drivers/gpio.h>
#include <zephyr/kernel.h>
#include <zephyr/logging/log.h>
#include "leds.h"
#include "usb.h"

const struct gpio_dt_spec debug_led0 = GPIO_DT_SPEC_GET(DT_ALIAS(debug_led0), gpios);
const struct gpio_dt_spec debug_led1 = GPIO_DT_SPEC_GET(DT_ALIAS(debug_led1), gpios);
const struct gpio_dt_spec debug_led2 = GPIO_DT_SPEC_GET(DT_ALIAS(debug_led2), gpios);
const struct gpio_dt_spec debug_led3 = GPIO_DT_SPEC_GET(DT_ALIAS(debug_led3), gpios);

const struct gpio_dt_spec status_led0 = GPIO_DT_SPEC_GET(DT_ALIAS(status_led0), gpios);
const struct gpio_dt_spec status_led1 = GPIO_DT_SPEC_GET(DT_ALIAS(status_led1), gpios);
const struct gpio_dt_spec status_led2 = GPIO_DT_SPEC_GET(DT_ALIAS(status_led2), gpios);
const struct gpio_dt_spec status_led3 = GPIO_DT_SPEC_GET(DT_ALIAS(status_led3), gpios);
const struct gpio_dt_spec status_led4 = GPIO_DT_SPEC_GET(DT_ALIAS(status_led4), gpios);

static const struct gpio_dt_spec *leds[] = {
        &debug_led0,
        &debug_led1,
        &debug_led2,
        &debug_led3,
        &status_led0,
        &status_led1,
        &status_led2,
        &status_led3,
        &status_led4
};

int init_leds() {
    for (int i = 0; i < N_LEDS; i++) {
        const struct gpio_dt_spec *led = leds[i];
        if (!gpio_is_ready_dt(led)) {
            printk("GPIO led was not ready.");
            return -1;
        }

        gpio_pin_configure_dt(led, GPIO_OUTPUT_ACTIVE);
        gpio_pin_set_dt(led, false);
    }

    for (int i = 0; i < N_LEDS; i++) {
        set_led(leds[i]);
    }
    printuln("LED initialization finished!");
    return 0;
}


int set_led(const struct gpio_dt_spec *led) {
    gpio_pin_set_dt(led, true);
    return 0;
}

int reset_led(const struct gpio_dt_spec *led) {
    gpio_pin_set_dt(led, false);
    return 0;
}
```

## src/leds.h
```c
#ifndef LEDS_H
#define LEDS_H

#define N_LEDS (9)
/**
 * On-board LEDs that can be probed on the STM board pins
 * Section 6.3: https://www.st.com/resource/en/user_manual/dm00039084-discovery-kit-with-stm32f407vg-mcu-stmicroelectronics.pdf
*/
// green LED
extern const struct gpio_dt_spec debug_led0;
// orange LED
extern const struct gpio_dt_spec debug_led1;
// red LED
extern const struct gpio_dt_spec debug_led2;
// blue LED
extern const struct gpio_dt_spec debug_led3;

// Status LEDs on the peripherals board
extern const struct gpio_dt_spec status_led0;
extern const struct gpio_dt_spec status_led1;
extern const struct gpio_dt_spec status_led2;
extern const struct gpio_dt_spec status_led3;
extern const struct gpio_dt_spec status_led4;

/// @brief LEDs initialization function
/// Call it before using the LEDs
/// @return 0 on success, -ERRNO otherwise
int init_leds();

/// @brief Turn on a specific LED
/// @param led to turn on
/// @return 0 on success, -ERRNO otherwise
int set_led(const struct gpio_dt_spec* led);

/// @brief Turn off a specific LED
/// @param led to turn on
/// @return 0 on success, -ERRNO otherwise
int reset_led(const struct gpio_dt_spec* led);

#endif // LEDS_H
```

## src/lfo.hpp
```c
#ifndef LFO_H
#define LFO_H

#include <stdint.h>
#include "synth.hpp"
#include "sine.hpp"

const float LFO_FREQUENCIES[] = {
    0.9470, 1.0105, 1.0782,
    1.1505, 1.2277, 1.3100,
    1.3978, 1.4916, 1.5916,
    1.6983, 1.8122, 1.9337,
    2.0633, 2.2017, 2.3493,
    2.5068, 2.6749, 2.8542,
    3.0456, 3.2498, 3.4677,
    3.7002, 3.9483, 4.2131,
    4.4955, 4.7970, 5.1186,
    5.4618, 5.8280, 6.2188,
    6.6358, 7.0807, 7.5554,
    8.0620, 8.6026, 9.1794,
    9.7949, 10.4516, 11.1524,
    11.9002, 12.6981, 13.5495,
    14.4579, 15.4273, 16.4617,
    17.5655, 18.7433, 20.0000
};

const float LFO_AMPLITUDES[] {
    0., 2.5000, 2.5499, 2.6007, 2.6526,
    2.7055, 2.7594, 2.8145, 2.8706,
    2.9279, 2.9863, 3.0458, 3.1066,
    3.1685, 3.2317, 3.2962, 3.3619,
    3.4290, 3.4973, 3.5671, 3.6382,
    3.7108, 3.7848, 3.8603, 3.9373,
    4.0158, 4.0959, 4.1776, 4.2609,
    4.3459, 4.4326, 4.5210, 4.6111,
    4.7031, 4.7969, 4.8926, 4.9901,
    5.0897, 5.1912, 5.2947, 5.4003,
    5.5080, 5.6179, 5.7299, 5.8442,
    5.9607, 6.0796, 6.2009, 6.3246,
    6.4507, 6.5793, 6.7106, 6.8444,
    6.9809, 7.1201, 7.2621, 7.4070,
    7.5547, 7.7054, 7.8591, 8.0158,
    8.1757, 8.3387, 8.5050, 8.6747,
    8.8477, 9.0241, 9.2041, 9.3877,
    9.5749, 9.7659, 9.9606, 10.1593,
    10.3619, 10.5686, 10.7793, 10.9943,
    11.2136, 11.4372, 11.6654, 11.8980,
    12.1353, 12.3773, 12.6242, 12.8760,
    13.1328, 13.3947, 13.6618, 13.9343,
    14.2122, 14.4957, 14.7848, 15.0796,
    15.3803, 15.6871, 16. 
};

/* 
    LFO can modulate both oscillator frequencies
    and amplitudes as well as LPF cutoff frequency
*/

/// @brief The parameter that the LFO is modulating
typedef enum lfo_target {
    NONE = -1,
    OSC1_FREQ,
    OSC2_FREQ,
    OSC1_AMP,
    OSC2_AMP,
    LPF_CUTOFF
} lfo_target_t;

class LFO {
    public:

        float _frequency;
        float _sampling_frequency;
        float _amplitude;
        uint16_t _phase;

        int _frequency_enc;
        int _amplitude_enc;
    
        /// @brief Default LFO constructor
        LFO(): _frequency(0.), _sampling_frequency(0.), _amplitude(0.), _phase(0) {}
        
        /// @brief Main LFO constructor 
        /// @param frequency the initialization LFO frequency
        /// @param sampling_frequency the sampling frequency, usually the audio frequency (44100)
        /// @param amplitude initialization LFO amplitude
        /// @param phase initialization LFO phase
        LFO(float frequency, float sampling_frequency, float amplitude, uint16_t phase) {
            this->_frequency = frequency;
            this->_sampling_frequency = sampling_frequency;
            this->_amplitude = amplitude;
            this->_phase = phase;
        }

        /// @brief Set the LFO's frequency
        /// @param freq the LFO's frequency
        void set_frequency(float freq) {
            _frequency = freq;
        }

        /// @brief Set the LFO's amplitude
        /// @param freq the LFO's amplitude
        void set_amplitude(float amp) {
            _amplitude = amp;
        }

        /// @brief Get the next LFO sample
        /// @return the next LFO sample
        float get_sample() {
            _phase += _frequency * 0x10000 / _sampling_frequency;

            return (SINE_LUT[_phase >> 6] - 0x8000) * (_amplitude / 40000.0);
        }
};

#endif // LFO_H
```
